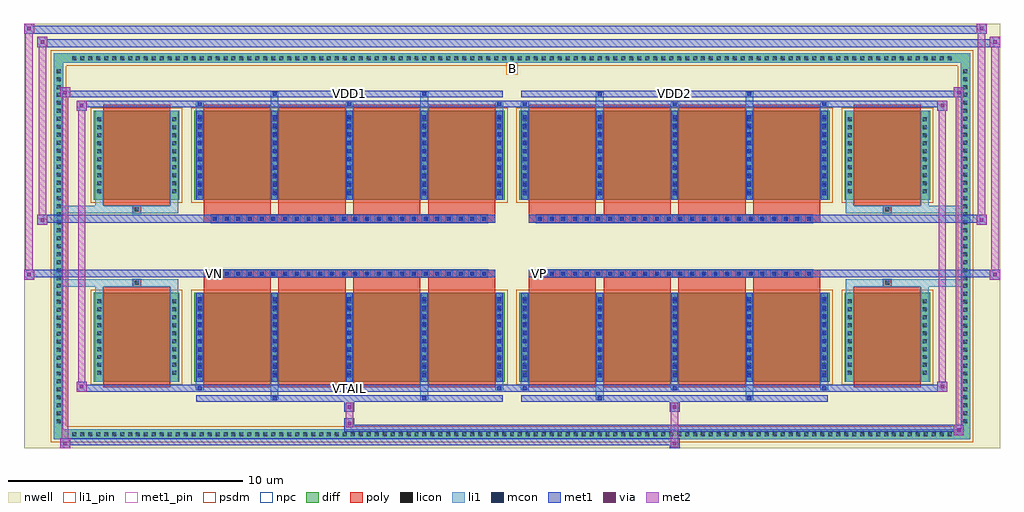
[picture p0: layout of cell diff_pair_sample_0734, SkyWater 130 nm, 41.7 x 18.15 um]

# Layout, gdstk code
import gdstk
lib = gdstk.Library(unit=1e-6, precision=5e-09)
def R(c, l, rs):  # rectangles x0, y0, x1, y1
    for r in rs: c.add(gdstk.rectangle(r[:2], r[2:], *l))
def A(c, l, x, y, w, h, nx, ny, dx, dy):  # array of equal rectangles
    R(c, l, [(x+i*dx, y+j*dy, x+i*dx+w, y+j*dy+h) for i in range(nx) for j in range(ny)])
def P(c, l, *ps):  # polygons
    for p in ps: c.add(gdstk.Polygon(p, *l))
nwell = (64, 20)
diff = (65, 20)
poly = (66, 20)
licon = (66, 44)
li1_pin = (67, 16)
li1 = (67, 20)
mcon = (67, 44)
met1_pin = (68, 16)
met1 = (68, 20)
via = (68, 44)
met2 = (69, 20)
psdm = (94, 20)
npc = (95, 20)

diff_pair_sample_0734 = lib.new_cell('diff_pair_sample_0734')
R(diff_pair_sample_0734, nwell, [(-20.85,-8.64,20.85,9.51), (-18.17,-6.83,-0.01,-0.805), (0.01,-6.83,18.17,-0.805), (-18.17,0.805,-0.01,6.83), (0.01,0.805,18.17,6.83)])
A(diff_pair_sample_0734, diff, -18.905, -8.24, 0.41, 0.41, 111, 2, 0.34, 16.07)
A(diff_pair_sample_0734, diff, -19.58, -7.685, 0.41, 0.41, 1, 45, 0, 0.34)
A(diff_pair_sample_0734, diff, 19.17, -7.685, 0.41, 0.41, 1, 45, 0, 0.34)
R(diff_pair_sample_0734, diff, [(-18.905,-8.24,18.905,-7.83), (-19.58,-7.685,-19.17,7.685), (19.17,-7.685,19.58,7.685), (-17.86,-5.785,-14.21,-1.985), (-13.57,-5.785,-0.32,-1.985), (0.32,-5.785,13.57,-1.985), (14.21,-5.785,17.86,-1.985), (-17.86,1.985,-14.21,5.785), (-13.57,1.985,-0.32,5.785), (0.32,1.985,13.57,5.785), (14.21,1.985,17.86,5.785), (-18.905,7.83,18.905,8.24)])
P(diff_pair_sample_0734, diff, [(19.58,8.24),(-19.58,8.24),(-19.58,-7.83),(-19.17,-7.83),(-19.17,7.83),(19.17,7.83),(19.17,-7.83),(-19.17,-7.83),(-19.58,-7.83),(-19.58,-8.24),(19.58,-8.24)])
A(diff_pair_sample_0734, poly, -13.18, -6.035, 2.87, 4.3, 4, 2, 3.2, 7.77)
A(diff_pair_sample_0734, poly, 0.71, -6.035, 2.87, 4.3, 4, 2, 3.2, 7.77)
A(diff_pair_sample_0734, poly, -13.18, -1.735, 2.87, 0.4, 4, 2, 3.2, 3.07)
A(diff_pair_sample_0734, poly, 0.71, -1.735, 2.87, 0.4, 4, 2, 3.2, 3.07)
A(diff_pair_sample_0734, poly, -12.86, -1.335, 0.33, 0.33, 24, 2, 0.5, 2.34)
A(diff_pair_sample_0734, poly, 1.03, -1.335, 0.33, 0.33, 24, 2, 0.5, 2.34)
R(diff_pair_sample_0734, poly, [(-17.47,-6.035,-14.6,-1.735), (14.6,-6.035,17.47,-1.735), (-16.2,-1.735,-15.87,-1.405), (-16.2,-1.735,-15.87,-1.405), (15.87,-1.735,16.2,-1.405), (15.87,-1.735,16.2,-1.405), (-13.18,-1.335,-0.71,-1.005), (0.71,-1.335,13.18,-1.005), (-13.18,1.005,-0.71,1.335), (0.71,1.005,13.18,1.335), (-16.2,1.405,-15.87,1.735), (-16.2,1.405,-15.87,1.735), (15.87,1.405,16.2,1.735), (15.87,1.405,16.2,1.735), (-17.47,1.735,-14.6,6.035), (14.6,1.735,17.47,6.035)])
A(diff_pair_sample_0734, licon, -18.785, -8.12, 0.17, 0.17, 111, 2, 0.34, 16.07)
A(diff_pair_sample_0734, licon, -19.46, -7.565, 0.17, 0.17, 1, 45, 0, 0.34)
A(diff_pair_sample_0734, licon, 19.29, -7.565, 0.17, 0.17, 1, 45, 0, 0.34)
A(diff_pair_sample_0734, licon, -17.72, -5.5, 0.17, 0.17, 1, 10, 0, 0.34)
A(diff_pair_sample_0734, licon, -14.52, -5.5, 0.17, 0.17, 1, 10, 0, 0.34)
A(diff_pair_sample_0734, licon, -13.43, -5.5, 0.17, 0.17, 5, 10, 3.2, 0.34)
A(diff_pair_sample_0734, licon, 0.46, -5.5, 0.17, 0.17, 5, 10, 3.2, 0.34)
A(diff_pair_sample_0734, licon, 14.35, -5.5, 0.17, 0.17, 1, 10, 0, 0.34)
A(diff_pair_sample_0734, licon, 17.55, -5.5, 0.17, 0.17, 1, 10, 0, 0.34)
A(diff_pair_sample_0734, licon, -12.78, -1.255, 0.17, 0.17, 24, 2, 0.5, 2.34)
A(diff_pair_sample_0734, licon, 1.11, -1.255, 0.17, 0.17, 24, 2, 0.5, 2.34)
A(diff_pair_sample_0734, licon, -17.72, 2.27, 0.17, 0.17, 1, 10, 0, 0.34)
A(diff_pair_sample_0734, licon, -14.52, 2.27, 0.17, 0.17, 1, 10, 0, 0.34)
A(diff_pair_sample_0734, licon, -13.43, 2.27, 0.17, 0.17, 5, 10, 3.2, 0.34)
A(diff_pair_sample_0734, licon, 0.46, 2.27, 0.17, 0.17, 5, 10, 3.2, 0.34)
A(diff_pair_sample_0734, licon, 14.35, 2.27, 0.17, 0.17, 1, 10, 0, 0.34)
A(diff_pair_sample_0734, licon, 17.55, 2.27, 0.17, 0.17, 1, 10, 0, 0.34)
R(diff_pair_sample_0734, licon, [(-16.12,-1.655,-15.95,-1.485), (15.95,-1.655,16.12,-1.485), (-16.12,1.485,-15.95,1.655), (15.95,1.485,16.12,1.655)])
R(diff_pair_sample_0734, li1_pin, [(-0.25,7.33,0.25,7.83)])
A(diff_pair_sample_0734, li1, -18.865, -8.2, 0.33, 0.33, 111, 2, 0.34, 16.07)
A(diff_pair_sample_0734, li1, -19.54, -7.645, 0.33, 0.33, 1, 45, 0, 0.34)
A(diff_pair_sample_0734, li1, 19.21, -7.645, 0.33, 0.33, 1, 45, 0, 0.34)
A(diff_pair_sample_0734, li1, -13.51, -6.16, 0.33, 0.375, 3, 2, 6.4, 11.945)
A(diff_pair_sample_0734, li1, -13.43, -6.16, 0.17, 0.17, 3, 2, 6.4, 12.15)
A(diff_pair_sample_0734, li1, 0.38, -6.16, 0.33, 0.375, 3, 2, 6.4, 11.945)
A(diff_pair_sample_0734, li1, 0.46, -6.16, 0.17, 0.17, 3, 2, 6.4, 12.15)
A(diff_pair_sample_0734, li1, -13.51, -5.785, 0.33, 3.8, 5, 2, 3.2, 7.77)
A(diff_pair_sample_0734, li1, 0.38, -5.785, 0.33, 3.8, 5, 2, 3.2, 7.77)
A(diff_pair_sample_0734, li1, -13.43, -5.59, 0.17, 0.17, 5, 10, 3.2, 0.36)
A(diff_pair_sample_0734, li1, -13.43, -5.59, 0.17, 3.41, 5, 2, 3.2, 7.77)
A(diff_pair_sample_0734, li1, 0.46, -5.59, 0.17, 0.17, 5, 10, 3.2, 0.36)
A(diff_pair_sample_0734, li1, 0.46, -5.59, 0.17, 3.41, 5, 2, 3.2, 7.77)
A(diff_pair_sample_0734, li1, -17.8, -5.58, 0.33, 0.33, 1, 10, 0, 0.34)
A(diff_pair_sample_0734, li1, -14.6, -5.58, 0.33, 0.33, 1, 10, 0, 0.34)
A(diff_pair_sample_0734, li1, -13.51, -5.58, 0.33, 0.33, 5, 10, 3.2, 0.34)
A(diff_pair_sample_0734, li1, 0.38, -5.58, 0.33, 0.33, 5, 10, 3.2, 0.34)
A(diff_pair_sample_0734, li1, 14.27, -5.58, 0.33, 0.33, 1, 10, 0, 0.34)
A(diff_pair_sample_0734, li1, 17.47, -5.58, 0.33, 0.33, 1, 10, 0, 0.34)
A(diff_pair_sample_0734, li1, -12.86, -1.335, 0.33, 0.33, 24, 2, 0.5, 2.34)
A(diff_pair_sample_0734, li1, 1.03, -1.335, 0.33, 0.33, 24, 2, 0.5, 2.34)
A(diff_pair_sample_0734, li1, -13.43, 2.18, 0.17, 0.17, 5, 10, 3.2, 0.36)
A(diff_pair_sample_0734, li1, 0.46, 2.18, 0.17, 0.17, 5, 10, 3.2, 0.36)
A(diff_pair_sample_0734, li1, -17.8, 2.19, 0.33, 0.33, 1, 10, 0, 0.34)
A(diff_pair_sample_0734, li1, -14.6, 2.19, 0.33, 0.33, 1, 10, 0, 0.34)
A(diff_pair_sample_0734, li1, -13.51, 2.19, 0.33, 0.33, 5, 10, 3.2, 0.34)
A(diff_pair_sample_0734, li1, 0.38, 2.19, 0.33, 0.33, 5, 10, 3.2, 0.34)
A(diff_pair_sample_0734, li1, 14.27, 2.19, 0.33, 0.33, 1, 10, 0, 0.34)
A(diff_pair_sample_0734, li1, 17.47, 2.19, 0.33, 0.33, 1, 10, 0, 0.34)
R(diff_pair_sample_0734, li1, [(-19.58,-8.24,-19.17,-7.83), (-19.58,-8.24,-19.17,-7.83), (-19.17,-8.24,19.17,-7.83), (19.17,-8.24,19.58,-7.83), (19.17,-8.24,19.58,-7.83), (-19.58,-7.83,-19.17,7.83), (19.17,-7.83,19.58,7.83), (-10.31,-6.59,-9.98,-5.785), (-10.23,-6.59,-10.06,-6.42), (-3.91,-6.59,-3.58,-5.785), (-3.83,-6.59,-3.66,-6.42), (3.58,-6.59,3.91,-5.785), (3.66,-6.59,3.83,-6.42), (9.98,-6.59,10.31,-5.785), (10.06,-6.59,10.23,-6.42), (-17.8,-5.785,-17.47,-1.985), (-14.6,-5.785,-14.27,-1.985), (14.27,-5.785,14.6,-1.985), (17.47,-5.785,17.8,-1.985), (-17.8,-1.985,-17.47,-1.405), (-14.6,-1.985,-14.27,-1.405), (14.27,-1.985,14.6,-1.405), (17.47,-1.985,17.8,-1.405), (-19.58,-1.735,-16.2,-1.405), (-17.8,-1.735,-16.2,-1.405), (-16.2,-1.735,-15.87,-1.405), (-15.87,-1.735,-14.27,-1.405), (14.27,-1.735,15.87,-1.405), (15.87,-1.735,16.2,-1.405), (15.87,-1.735,19.58,-1.405), (16.2,-1.735,17.8,-1.405), (-19.58,1.405,-16.2,1.735), (-17.8,1.405,-16.2,1.735), (-17.8,1.405,-17.47,1.985), (-16.2,1.405,-15.87,1.735), (-15.87,1.405,-14.27,1.735), (-14.6,1.405,-14.27,1.985), (14.27,1.405,15.87,1.735), (14.27,1.405,14.6,1.985), (15.87,1.405,16.2,1.735), (15.87,1.405,19.58,1.735), (16.2,1.405,17.8,1.735), (17.47,1.405,17.8,1.985), (-17.8,1.985,-17.47,5.785), (-14.6,1.985,-14.27,5.785), (14.27,1.985,14.6,5.785), (17.47,1.985,17.8,5.785), (-10.31,5.785,-9.98,6.59), (-3.91,5.785,-3.58,6.59), (3.58,5.785,3.91,6.59), (9.98,5.785,10.31,6.59), (-10.23,6.42,-10.06,6.59), (-3.83,6.42,-3.66,6.59), (3.66,6.42,3.83,6.59), (10.06,6.42,10.23,6.59), (-19.58,7.83,-19.17,8.24), (-19.58,7.83,-19.17,8.24), (-19.17,7.83,19.17,8.24), (19.17,7.83,19.58,8.24), (19.17,7.83,19.58,8.24)])
A(diff_pair_sample_0734, mcon, -13.43, -6.16, 0.17, 0.17, 3, 2, 6.4, 12.15)
A(diff_pair_sample_0734, mcon, 0.46, -6.16, 0.17, 0.17, 3, 2, 6.4, 12.15)
A(diff_pair_sample_0734, mcon, -13.43, -5.59, 0.17, 0.17, 5, 10, 3.2, 0.36)
A(diff_pair_sample_0734, mcon, 0.46, -5.59, 0.17, 0.17, 5, 10, 3.2, 0.36)
A(diff_pair_sample_0734, mcon, -12.78, -1.255, 0.17, 0.17, 24, 2, 0.5, 2.34)
A(diff_pair_sample_0734, mcon, 1.11, -1.255, 0.17, 0.17, 24, 2, 0.5, 2.34)
A(diff_pair_sample_0734, mcon, -13.43, 2.18, 0.17, 0.17, 5, 10, 3.2, 0.36)
A(diff_pair_sample_0734, mcon, 0.46, 2.18, 0.17, 0.17, 5, 10, 3.2, 0.36)
R(diff_pair_sample_0734, mcon, [(-10.23,-6.59,-10.06,-6.42), (-3.83,-6.59,-3.66,-6.42), (3.66,-6.59,3.83,-6.42), (10.06,-6.59,10.23,-6.42), (-10.23,6.42,-10.06,6.59), (-3.83,6.42,-3.66,6.59), (3.66,6.42,3.83,6.59), (10.06,6.42,10.23,6.59)])
R(diff_pair_sample_0734, met1_pin, [(-7.08,-6.2,-6.81,-5.93), (-12.83,-1.295,-12.56,-1.025), (1.06,-1.295,1.33,-1.025), (-7.08,6.38,-6.81,6.65), (6.81,6.38,7.08,6.65)])
A(diff_pair_sample_0734, met1, -13.49, -6.22, 0.29, 0.29, 3, 2, 6.4, 12.15)
A(diff_pair_sample_0734, met1, 0.4, -6.22, 0.29, 0.29, 3, 2, 6.4, 12.15)
A(diff_pair_sample_0734, met1, -13.49, -5.785, 0.29, 3.8, 5, 2, 3.2, 7.77)
A(diff_pair_sample_0734, met1, 0.4, -5.785, 0.29, 3.8, 5, 2, 3.2, 7.77)
A(diff_pair_sample_0734, met1, -13.49, -5.65, 0.29, 0.29, 5, 10, 3.2, 0.36)
A(diff_pair_sample_0734, met1, 0.4, -5.65, 0.29, 0.29, 5, 10, 3.2, 0.36)
A(diff_pair_sample_0734, met1, -12.84, -1.315, 0.29, 0.29, 24, 2, 0.5, 2.34)
A(diff_pair_sample_0734, met1, 1.05, -1.315, 0.29, 0.29, 24, 2, 0.5, 2.34)
A(diff_pair_sample_0734, met1, -13.49, 2.12, 0.29, 0.29, 5, 10, 3.2, 0.36)
A(diff_pair_sample_0734, met1, 0.4, 2.12, 0.29, 0.29, 5, 10, 3.2, 0.36)
R(diff_pair_sample_0734, met1, [(-19.31,-8.64,-18.88,-8.21), (6.73,-8.64,7.16,-8.21), (-19.31,-8.5,7.16,-8.21), (18.88,-8.07,19.31,-7.64), (-7.16,-7.93,19.31,-7.64), (-7.16,-7.79,-6.73,-7.36), (-7.16,-7.08,-6.73,-6.65), (6.73,-7.08,7.16,-6.65), (-13.49,-6.65,-0.4,-6.36), (-10.29,-6.65,-10,-6.36), (-3.89,-6.65,-3.6,-6.36), (0.4,-6.65,13.49,-6.36), (3.6,-6.65,3.89,-6.36), (10,-6.65,10.29,-6.36), (-18.6,-6.22,-18.17,-5.79), (-18.6,-6.22,-13.49,-5.93), (-13.49,-6.22,-0.4,-5.93), (-0.4,-6.22,0.4,-5.93), (0.4,-6.22,13.49,-5.93), (13.49,-6.22,18.6,-5.93), (18.17,-6.22,18.6,-5.79), (-20.85,-1.435,-20.42,-1.005), (20.42,-1.435,20.85,-1.005), (-20.85,-1.335,-0.71,-1.005), (-13.18,-1.335,-0.71,-1.005), (0.71,-1.335,13.18,-1.005), (0.71,-1.335,20.85,-1.005), (-20.28,0.905,-19.85,1.335), (19.85,0.905,20.28,1.335), (-20.28,1.005,-13.18,1.335), (-13.18,1.005,-0.71,1.335), (0.71,1.005,13.18,1.335), (13.18,1.005,20.28,1.335), (-18.6,5.79,-18.17,6.22), (18.17,5.79,18.6,6.22), (-18.6,5.93,-13.49,6.22), (-13.49,5.93,-0.4,6.22), (-0.4,5.93,0.4,6.22), (0.4,5.93,13.49,6.22), (13.49,5.93,18.6,6.22), (-19.31,6.36,-18.88,6.79), (-19.31,6.36,-13.49,6.65), (-13.49,6.36,-0.4,6.65), (-10.29,6.36,-10,6.65), (-3.89,6.36,-3.6,6.65), (0.4,6.36,13.49,6.65), (3.6,6.36,3.89,6.65), (10,6.36,10.29,6.65), (13.49,6.36,19.31,6.65), (18.88,6.36,19.31,6.79), (-20.28,8.51,-19.85,8.94), (-20.28,8.51,-18.17,8.84), (-18.17,8.51,18.17,8.84), (18.17,8.51,20.85,8.84), (20.42,8.51,20.85,8.94), (-20.85,9.08,-20.42,9.51), (-20.85,9.08,-18.17,9.41), (-18.17,9.08,18.17,9.41), (18.17,9.08,20.28,9.41), (19.85,9.08,20.28,9.51)])
R(diff_pair_sample_0734, via, [(-19.17,-8.5,-19.02,-8.35), (6.87,-8.5,7.02,-8.35), (19.02,-7.93,19.17,-7.78), (-7.02,-7.65,-6.87,-7.5), (-7.02,-6.94,-6.87,-6.79), (6.87,-6.94,7.02,-6.79), (-18.46,-6.08,-18.31,-5.93), (18.31,-6.08,18.46,-5.93), (-20.71,-1.295,-20.56,-1.145), (20.56,-1.295,20.71,-1.145), (-20.14,1.045,-19.99,1.195), (19.99,1.045,20.14,1.195), (-18.46,5.93,-18.31,6.08), (18.31,5.93,18.46,6.08), (-19.17,6.5,-19.02,6.65), (19.02,6.5,19.17,6.65), (-20.14,8.65,-19.99,8.8), (20.56,8.65,20.71,8.8), (-20.71,9.22,-20.56,9.37), (19.99,9.22,20.14,9.37)])
R(diff_pair_sample_0734, met2, [(-19.31,-8.64,-18.88,-8.21), (-19.24,-8.64,-18.95,6.79), (-18.95,-8.64,-18.88,-8.21), (-19.26,-8.59,-18.93,-8.26), (6.78,-8.59,7.11,-8.26), (6.78,-8.26,7.11,-7.03), (18.88,-8.07,19.31,-7.64), (18.95,-8.07,19.24,6.79), (19.24,-8.07,19.31,-7.64), (18.93,-8.02,19.26,-7.69), (-7.11,-7.74,-6.78,-7.41), (-7.11,-7.41,-6.78,-7.03), (-7.11,-7.03,-6.78,-6.7), (6.78,-7.03,7.11,-6.7), (-18.6,-6.22,-18.17,-5.79), (-18.53,-6.22,-18.24,6.22), (-18.24,-6.22,-18.17,-5.79), (18.17,-6.22,18.6,-5.79), (18.24,-6.22,18.53,6.22), (18.53,-6.22,18.6,-5.79), (-18.55,-6.17,-18.22,-5.84), (18.22,-6.17,18.55,-5.84), (-20.85,-1.435,-20.42,-1.005), (-20.8,-1.435,-20.47,9.51), (-20.47,-1.435,-20.42,-1.005), (20.42,-1.435,20.85,-1.005), (20.47,-1.435,20.8,8.94), (20.8,-1.435,20.85,-1.005), (-20.8,-1.385,-20.47,-1.055), (20.47,-1.385,20.8,-1.055), (-20.28,0.905,-19.85,1.335), (-20.23,0.905,-19.9,8.94), (-19.9,0.905,-19.85,1.335), (19.85,0.905,20.28,1.335), (19.9,0.905,20.23,9.51), (20.23,0.905,20.28,1.335), (-20.23,0.955,-19.9,1.285), (19.9,0.955,20.23,1.285), (-18.6,5.79,-18.17,6.22), (-18.24,5.79,-18.17,6.22), (18.17,5.79,18.6,6.22), (18.53,5.79,18.6,6.22), (-18.55,5.84,-18.22,6.17), (18.22,5.84,18.55,6.17), (-19.31,6.36,-18.88,6.79), (-18.95,6.36,-18.88,6.79), (18.88,6.36,19.31,6.79), (19.24,6.36,19.31,6.79), (-19.26,6.41,-18.93,6.74), (18.93,6.41,19.26,6.74), (-20.28,8.51,-19.85,8.94), (-19.9,8.51,-19.85,8.94), (20.42,8.51,20.85,8.94), (20.8,8.51,20.85,8.94), (-20.23,8.56,-19.9,8.89), (20.47,8.56,20.8,8.89), (-20.85,9.08,-20.42,9.51), (-20.47,9.08,-20.42,9.51), (19.85,9.08,20.28,9.51), (20.23,9.08,20.28,9.51), (-20.8,9.13,-20.47,9.46), (19.9,9.13,20.23,9.46)])
R(diff_pair_sample_0734, psdm, [(-17.99,-5.915,-14.08,-1.855), (-13.7,-5.915,-0.19,-1.855), (0.19,-5.915,13.7,-1.855), (14.08,-5.915,17.99,-1.855), (-17.99,1.855,-14.08,5.915), (-13.7,1.855,-0.19,5.915), (0.19,1.855,13.7,5.915), (14.08,1.855,17.99,5.915)])
P(diff_pair_sample_0734, psdm, [(19.71,8.37),(-19.71,8.37),(-19.71,-7.7),(-19.04,-7.7),(-19.04,7.7),(19.04,7.7),(19.04,-7.7),(-19.04,-7.7),(-19.71,-7.7),(-19.71,-8.37),(19.71,-8.37)])
A(diff_pair_sample_0734, npc, -12.88, -1.355, 0.37, 0.37, 24, 2, 0.5, 2.34)
A(diff_pair_sample_0734, npc, 1.01, -1.355, 0.37, 0.37, 24, 2, 0.5, 2.34)
R(diff_pair_sample_0734, npc, [(-16.22,-1.755,-15.85,-1.385), (15.85,-1.755,16.22,-1.385), (-12.88,-1.355,-12.01,-0.985), (-12.88,-1.355,-12.01,-0.985), (-12.38,-1.355,-11.51,-0.985), (-12.38,-1.355,-11.51,-0.985), (-11.88,-1.355,-11.01,-0.985), (-11.88,-1.355,-11.01,-0.985), (-11.38,-1.355,-10.51,-0.985), (-11.38,-1.355,-10.51,-0.985), (-10.88,-1.355,-10.01,-0.985), (-10.88,-1.355,-10.01,-0.985), (-10.38,-1.355,-9.51,-0.985), (-10.38,-1.355,-9.51,-0.985), (-9.88,-1.355,-9.01,-0.985), (-9.88,-1.355,-9.01,-0.985), (-9.38,-1.355,-8.51,-0.985), (-9.38,-1.355,-8.51,-0.985), (-8.88,-1.355,-8.01,-0.985), (-8.88,-1.355,-8.01,-0.985), (-8.38,-1.355,-7.51,-0.985), (-8.38,-1.355,-7.51,-0.985), (-7.88,-1.355,-7.01,-0.985), (-7.88,-1.355,-7.01,-0.985), (-7.38,-1.355,-6.51,-0.985), (-7.38,-1.355,-6.51,-0.985), (-6.88,-1.355,-6.01,-0.985), (-6.88,-1.355,-6.01,-0.985), (-6.38,-1.355,-5.51,-0.985), (-6.38,-1.355,-5.51,-0.985), (-5.88,-1.355,-5.01,-0.985), (-5.88,-1.355,-5.01,-0.985), (-5.38,-1.355,-4.51,-0.985), (-5.38,-1.355,-4.51,-0.985), (-4.88,-1.355,-4.01,-0.985), (-4.88,-1.355,-4.01,-0.985), (-4.38,-1.355,-3.51,-0.985), (-4.38,-1.355,-3.51,-0.985), (-3.88,-1.355,-3.01,-0.985), (-3.88,-1.355,-3.01,-0.985), (-3.38,-1.355,-2.51,-0.985), (-3.38,-1.355,-2.51,-0.985), (-2.88,-1.355,-2.01,-0.985), (-2.88,-1.355,-2.01,-0.985), (-2.38,-1.355,-1.51,-0.985), (-2.38,-1.355,-1.51,-0.985), (-1.88,-1.355,-1.01,-0.985), (-1.88,-1.355,-1.01,-0.985), (1.01,-1.355,1.88,-0.985), (1.01,-1.355,1.88,-0.985), (1.51,-1.355,2.38,-0.985), (1.51,-1.355,2.38,-0.985), (2.01,-1.355,2.88,-0.985), (2.01,-1.355,2.88,-0.985), (2.51,-1.355,3.38,-0.985), (2.51,-1.355,3.38,-0.985), (3.01,-1.355,3.88,-0.985), (3.01,-1.355,3.88,-0.985), (3.51,-1.355,4.38,-0.985), (3.51,-1.355,4.38,-0.985), (4.01,-1.355,4.88,-0.985), (4.01,-1.355,4.88,-0.985), (4.51,-1.355,5.38,-0.985), (4.51,-1.355,5.38,-0.985), (5.01,-1.355,5.88,-0.985), (5.01,-1.355,5.88,-0.985), (5.51,-1.355,6.38,-0.985), (5.51,-1.355,6.38,-0.985), (6.01,-1.355,6.88,-0.985), (6.01,-1.355,6.88,-0.985), (6.51,-1.355,7.38,-0.985), (6.51,-1.355,7.38,-0.985), (7.01,-1.355,7.88,-0.985), (7.01,-1.355,7.88,-0.985), (7.51,-1.355,8.38,-0.985), (7.51,-1.355,8.38,-0.985), (8.01,-1.355,8.88,-0.985), (8.01,-1.355,8.88,-0.985), (8.51,-1.355,9.38,-0.985), (8.51,-1.355,9.38,-0.985), (9.01,-1.355,9.88,-0.985), (9.01,-1.355,9.88,-0.985), (9.51,-1.355,10.38,-0.985), (9.51,-1.355,10.38,-0.985), (10.01,-1.355,10.88,-0.985), (10.01,-1.355,10.88,-0.985), (10.51,-1.355,11.38,-0.985), (10.51,-1.355,11.38,-0.985), (11.01,-1.355,11.88,-0.985), (11.01,-1.355,11.88,-0.985), (11.51,-1.355,12.38,-0.985), (11.51,-1.355,12.38,-0.985), (12.01,-1.355,12.88,-0.985), (12.01,-1.355,12.88,-0.985), (-12.88,0.985,-12.01,1.355), (-12.88,0.985,-12.01,1.355), (-12.38,0.985,-11.51,1.355), (-12.38,0.985,-11.51,1.355), (-11.88,0.985,-11.01,1.355), (-11.88,0.985,-11.01,1.355), (-11.38,0.985,-10.51,1.355), (-11.38,0.985,-10.51,1.355), (-10.88,0.985,-10.01,1.355), (-10.88,0.985,-10.01,1.355), (-10.38,0.985,-9.51,1.355), (-10.38,0.985,-9.51,1.355), (-9.88,0.985,-9.01,1.355), (-9.88,0.985,-9.01,1.355), (-9.38,0.985,-8.51,1.355), (-9.38,0.985,-8.51,1.355), (-8.88,0.985,-8.01,1.355), (-8.88,0.985,-8.01,1.355), (-8.38,0.985,-7.51,1.355), (-8.38,0.985,-7.51,1.355), (-7.88,0.985,-7.01,1.355), (-7.88,0.985,-7.01,1.355), (-7.38,0.985,-6.51,1.355), (-7.38,0.985,-6.51,1.355), (-6.88,0.985,-6.01,1.355), (-6.88,0.985,-6.01,1.355), (-6.38,0.985,-5.51,1.355), (-6.38,0.985,-5.51,1.355), (-5.88,0.985,-5.01,1.355), (-5.88,0.985,-5.01,1.355), (-5.38,0.985,-4.51,1.355), (-5.38,0.985,-4.51,1.355), (-4.88,0.985,-4.01,1.355), (-4.88,0.985,-4.01,1.355), (-4.38,0.985,-3.51,1.355), (-4.38,0.985,-3.51,1.355), (-3.88,0.985,-3.01,1.355), (-3.88,0.985,-3.01,1.355), (-3.38,0.985,-2.51,1.355), (-3.38,0.985,-2.51,1.355), (-2.88,0.985,-2.01,1.355), (-2.88,0.985,-2.01,1.355), (-2.38,0.985,-1.51,1.355), (-2.38,0.985,-1.51,1.355), (-1.88,0.985,-1.01,1.355), (-1.88,0.985,-1.01,1.355), (1.01,0.985,1.88,1.355), (1.01,0.985,1.88,1.355), (1.51,0.985,2.38,1.355), (1.51,0.985,2.38,1.355), (2.01,0.985,2.88,1.355), (2.01,0.985,2.88,1.355), (2.51,0.985,3.38,1.355), (2.51,0.985,3.38,1.355), (3.01,0.985,3.88,1.355), (3.01,0.985,3.88,1.355), (3.51,0.985,4.38,1.355), (3.51,0.985,4.38,1.355), (4.01,0.985,4.88,1.355), (4.01,0.985,4.88,1.355), (4.51,0.985,5.38,1.355), (4.51,0.985,5.38,1.355), (5.01,0.985,5.88,1.355), (5.01,0.985,5.88,1.355), (5.51,0.985,6.38,1.355), (5.51,0.985,6.38,1.355), (6.01,0.985,6.88,1.355), (6.01,0.985,6.88,1.355), (6.51,0.985,7.38,1.355), (6.51,0.985,7.38,1.355), (7.01,0.985,7.88,1.355), (7.01,0.985,7.88,1.355), (7.51,0.985,8.38,1.355), (7.51,0.985,8.38,1.355), (8.01,0.985,8.88,1.355), (8.01,0.985,8.88,1.355), (8.51,0.985,9.38,1.355), (8.51,0.985,9.38,1.355), (9.01,0.985,9.88,1.355), (9.01,0.985,9.88,1.355), (9.51,0.985,10.38,1.355), (9.51,0.985,10.38,1.355), (10.01,0.985,10.88,1.355), (10.01,0.985,10.88,1.355), (10.51,0.985,11.38,1.355), (10.51,0.985,11.38,1.355), (11.01,0.985,11.88,1.355), (11.01,0.985,11.88,1.355), (11.51,0.985,12.38,1.355), (11.51,0.985,12.38,1.355), (12.01,0.985,12.88,1.355), (12.01,0.985,12.88,1.355), (-16.22,1.385,-15.85,1.755), (15.85,1.385,16.22,1.755)])
diff_pair_sample_0734.add(gdstk.Label('VTAIL', (-6.945,-6.065), layer=68, texttype=5))
diff_pair_sample_0734.add(gdstk.Label('VN', (-12.695,-1.16), layer=68, texttype=5))
diff_pair_sample_0734.add(gdstk.Label('VP', (1.195,-1.16), layer=68, texttype=5))
diff_pair_sample_0734.add(gdstk.Label('B', (0,7.58), layer=67, texttype=5))
diff_pair_sample_0734.add(gdstk.Label('VDD2', (6.945,6.515), layer=68, texttype=5))
diff_pair_sample_0734.add(gdstk.Label('VDD1', (-6.945,6.515), layer=68, texttype=5))

lib.write_gds('diff_pair_sample_0734.gds')
